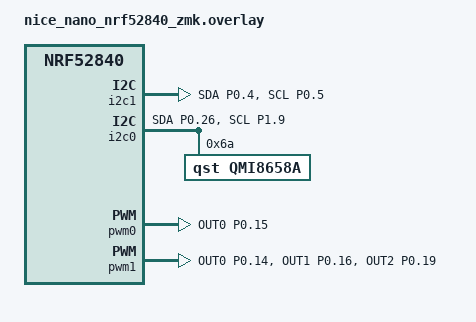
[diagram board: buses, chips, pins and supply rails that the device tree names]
/*
 * Board-specific overlay for CyberFly Keyboard on nice!nano (nRF52840)
 * PWM0: backlight on P0.15
 * PWM1: RGB status LED on P0.14 (R), P0.16 (G), P0.19 (B)
 * I2C0 (TWIM): QMI8658A IMU master (SDA=P0.26, SCL=P1.09)
 * I2C1 (TWIS): CyberFly I2C slave target (SDA=P0.04, SCL=P0.05)
 */

/* Disable the nice_nano on-board LED node to avoid conflict with P0.15 */
&{/leds} {
    status = "disabled";
};

/* I2C0 for QMI8658A IMU (SDA=P0.26, SCL=P1.09) */
&pinctrl {
    i2c0_default: i2c0_default {
        group1 {
            psels = <NRF_PSEL(TWIM_SDA, 0, 26)>,
                    <NRF_PSEL(TWIM_SCL, 1, 9)>;
        };
    };
    i2c0_sleep: i2c0_sleep {
        group1 {
            psels = <NRF_PSEL(TWIM_SDA, 0, 26)>,
                    <NRF_PSEL(TWIM_SCL, 1, 9)>;
            low-power-enable;
        };
    };

    /* I2C1 as TWIS (slave) for CyberFly external host interface */
    i2c1_target_default: i2c1_target_default {
        group1 {
            psels = <NRF_PSEL(TWIS_SDA, 0, 4)>,
                    <NRF_PSEL(TWIS_SCL, 0, 5)>;
        };
    };
    i2c1_target_sleep: i2c1_target_sleep {
        group1 {
            psels = <NRF_PSEL(TWIS_SDA, 0, 4)>,
                    <NRF_PSEL(TWIS_SCL, 0, 5)>;
            low-power-enable;
        };
    };
};

/* nice!nano defines i2c1 as nordic,nrf-twi (master). Rebind to TWIS (slave). */
&i2c1 {
    /* Override compatible from nordic,nrf-twi -> nordic,nrf-twis */
    compatible = "nordic,nrf-twis";
    status = "okay";
    pinctrl-0 = <&i2c1_target_default>;
    pinctrl-1 = <&i2c1_target_sleep>;
    pinctrl-names = "default", "sleep";
};

/ {
    aliases {
        cyberfly-i2c-slave-bus = &i2c1;
    };
};

/* PWM0 for backlight */
&pinctrl {
    pwm0_default: pwm0_default {
        group1 {
            psels = <NRF_PSEL(PWM_OUT0, 0, 15)>;
        };
    };
    pwm0_sleep: pwm0_sleep {
        group1 {
            psels = <NRF_PSEL(PWM_OUT0, 0, 15)>;
            low-power-enable;
        };
    };

    /* PWM1 for RGB LED */
    pwm1_default: pwm1_default {
        group1 {
            psels = <NRF_PSEL(PWM_OUT0, 0, 14)>,
                    <NRF_PSEL(PWM_OUT1, 0, 16)>,
                    <NRF_PSEL(PWM_OUT2, 0, 19)>;
        };
    };
    pwm1_sleep: pwm1_sleep {
        group1 {
            psels = <NRF_PSEL(PWM_OUT0, 0, 14)>,
                    <NRF_PSEL(PWM_OUT1, 0, 16)>,
                    <NRF_PSEL(PWM_OUT2, 0, 19)>;
            low-power-enable;
        };
    };
};

&i2c0 {
    compatible = "nordic,nrf-twi";
    status = "okay";
    pinctrl-0 = <&i2c0_default>;
    pinctrl-1 = <&i2c0_sleep>;
    pinctrl-names = "default", "sleep";

    qmi8658a: qmi8658a@6a {
        compatible = "qst,qmi8658a";
        reg = <0x6a>;
        accel-fs = <4>;
        gyro-fs = <256>;
        accel-odr = <56>;
        gyro-odr = <56>;
    };
};

&pwm0 {
    status = "okay";
    pinctrl-0 = <&pwm0_default>;
    pinctrl-1 = <&pwm0_sleep>;
    pinctrl-names = "default", "sleep";
};

&pwm1 {
    status = "okay";
    pinctrl-0 = <&pwm1_default>;
    pinctrl-1 = <&pwm1_sleep>;
    pinctrl-names = "default", "sleep";
};
